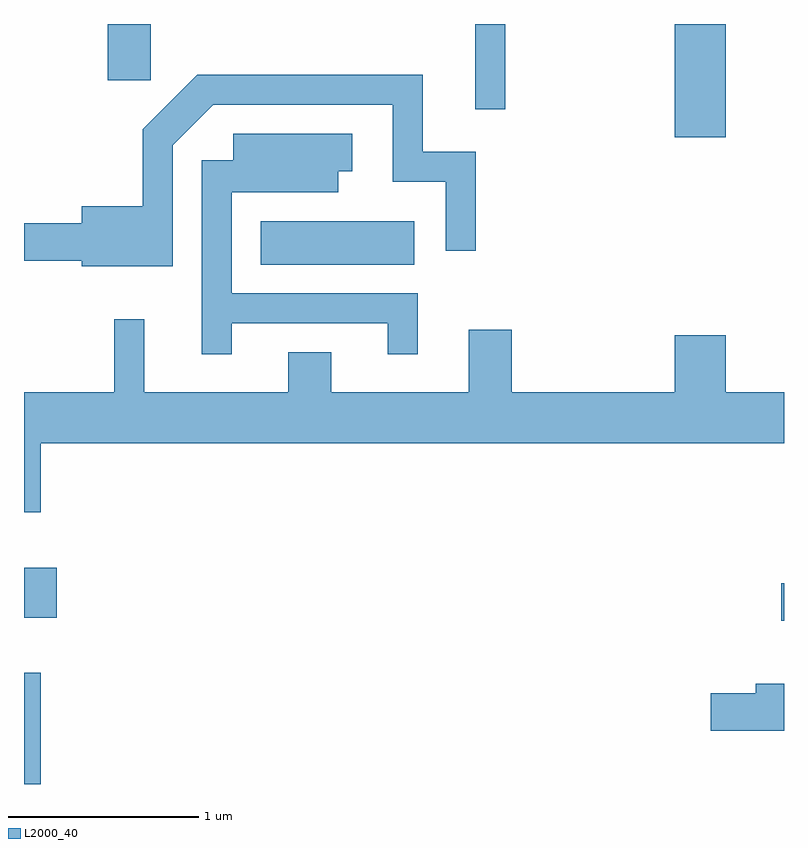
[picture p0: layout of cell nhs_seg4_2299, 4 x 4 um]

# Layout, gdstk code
import gdstk
lib = gdstk.Library(unit=1e-6, precision=1e-09)
def R(c, l, rs):  # rectangles x0, y0, x1, y1
    for r in rs: c.add(gdstk.rectangle(r[:2], r[2:], *l))
def P(c, l, *ps):  # polygons
    for p in ps: c.add(gdstk.Polygon(p, *l))
L2000_40 = (2000, 40)

nhs_seg4_2299 = lib.new_cell('nhs_seg4_2299')
R(nhs_seg4_2299, L2000_40, [(251.611,1363.982,251.699,1364.568), (255.596,1364.841,255.611,1365.039), (251.611,1364.856,251.784,1365.119), (252.856,1366.716,253.664,1366.944), (255.036,1367.386,255.304,1367.982), (253.986,1367.533,254.144,1367.982), (252.051,1367.686,252.279,1367.982)])
P(nhs_seg4_2299, L2000_40, [(252.394,1367.344),(252.607,1367.556),(253.551,1367.556),(253.551,1367.151),(253.831,1367.151),(253.831,1366.788),(253.989,1366.788),(253.989,1367.309),(253.709,1367.309),(253.709,1367.714),(252.524,1367.714),(252.236,1367.427),(252.236,1367.024),(251.916,1367.024),(251.916,1366.934),(251.611,1366.934),(251.611,1366.736),(251.916,1366.736),(251.916,1366.706),(252.394,1366.706)],
  [(252.704,1366.406),(253.526,1366.406),(253.526,1366.243),(253.684,1366.243),(253.684,1366.564),(252.704,1366.564),(252.704,1367.096),(253.264,1367.096),(253.264,1367.206),(253.339,1367.206),(253.339,1367.404),(252.711,1367.404),(252.711,1367.264),(252.546,1367.264),(252.546,1366.243),(252.704,1366.243)],
  [(251.699,1365.776),(255.611,1365.776),(255.611,1366.044),(255.304,1366.044),(255.304,1366.344),(255.036,1366.344),(255.036,1366.044),(254.179,1366.044),(254.179,1366.374),(253.951,1366.374),(253.951,1366.044),(253.229,1366.044),(253.229,1366.254),(253.001,1366.254),(253.001,1366.044),(252.244,1366.044),(252.244,1366.428),(252.086,1366.428),(252.086,1366.044),(251.611,1366.044),(251.611,1365.413),(251.699,1365.413)],
  [(255.611,1364.509),(255.461,1364.509),(255.461,1364.459),(255.226,1364.459),(255.226,1364.261),(255.611,1364.261)])

lib.write_gds('nhs_seg4_2299.gds')
